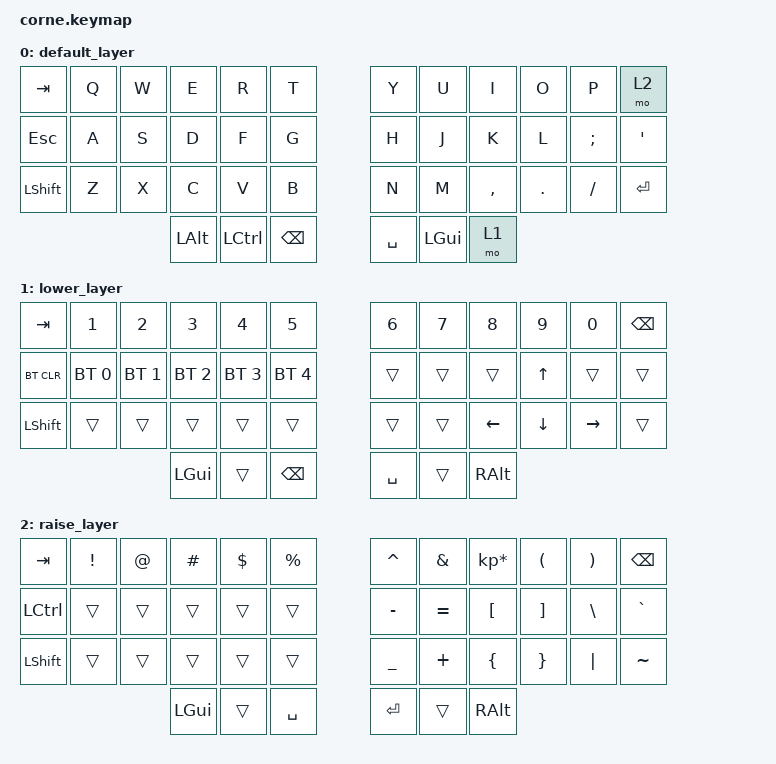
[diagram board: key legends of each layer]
/*
 * Copyright (c) 2020 The ZMK Contributors
 *
 * SPDX-License-Identifier: MIT
 */

#include <behaviors.dtsi>
#include <dt-bindings/zmk/bt.h>
#include <dt-bindings/zmk/keys.h>

/ {
    keymap {
        compatible = "zmk,keymap";

        default_layer {
            // -----------------------------------------------------------------------------------------
            // |  TAB |  Q  |  W  |  E  |  R  |  T  |   |  Y  |  U   |  I  |  O  |  P  | RSE  |
            // |  ESC |  A  |  S  |  D  |  F  |  G  |   |  H  |  J   |  K  |  L  |  ;  |  '   |
            // | SHFT |  Z  |  X  |  C  |  V  |  B  |   |  N  |  M   |  ,  |  .  |  /  | RET  |
            //                    | ALT | CRT |BKSP |   | SPC | LWR  | ALT |

            bindings = <
&kp TAB    &kp Q  &kp W  &kp E     &kp R      &kp T       &kp Y      &kp U     &kp I      &kp O    &kp P     &mo 2
&kp ESC    &kp A  &kp S  &kp D     &kp F      &kp G       &kp H      &kp J     &kp K      &kp L    &kp SEMI  &kp SQT
&kp LSHFT  &kp Z  &kp X  &kp C     &kp V      &kp B       &kp N      &kp M     &kp COMMA  &kp DOT  &kp FSLH  &kp RET
                         &kp LALT  &kp LCTRL  &kp BSPC    &kp SPACE  &kp LGUI  &mo 1
            >;
        };

        lower_layer {
            // -----------------------------------------------------------------------------------------
            // |  TAB |  1  |  2  |  3  |  4  |  5  |   |  6  |  7  |  8  |  9  |  0  | BKSP |
            // | BTCLR| BT1 | BT2 | BT3 | BT4 | BT5 |   |     |     |     |  UP |     |      |
            // | SHFT |     |     |     |     |     |   |     |     | LET | DWN | RGT |      |
            //                    | GUI |     | SPC |   | ENT |     | ALT |

            bindings = <
&kp TAB     &kp N1        &kp N2        &kp N3        &kp N4        &kp N5           &kp N6     &kp N7  &kp N8    &kp N9    &kp N0     &kp BSPC
&bt BT_CLR  &bt BT_SEL 0  &bt BT_SEL 1  &bt BT_SEL 2  &bt BT_SEL 3  &bt BT_SEL 4     &trans     &trans  &trans    &kp UP    &trans     &trans
&kp LSHFT   &trans        &trans        &trans        &trans        &trans           &trans     &trans  &kp LEFT  &kp DOWN  &kp RIGHT  &trans
                                        &kp LGUI      &trans        &kp BACKSPACE    &kp SPACE  &trans  &kp RALT
            >;
        };

        raise_layer {
            // -----------------------------------------------------------------------------------------
            // |  TAB |  !  |  @  |  #  |  $  |  %  |   |  ^  |  &  |  *  |  (  |  )  | BKSP |
            // | CTRL |     |     |     |     |     |   |  -  |  =  |  [  |  ]  |  \  |  `   |
            // | SHFT |     |     |     |     |     |   |  _  |  +  |  {  |  }  | "|" |  ~   |
            //                    | GUI |     | SPC |   | ENT |     | ALT |

            bindings = <
&kp TAB    &kp EXCL  &kp AT  &kp HASH  &kp DLLR  &kp PRCNT    &kp CARET  &kp AMPS   &kp KP_MULTIPLY  &kp LPAR  &kp RPAR  &kp BSPC
&kp LCTRL  &trans    &trans  &trans    &trans    &trans       &kp MINUS  &kp EQUAL  &kp LBKT         &kp RBKT  &kp BSLH  &kp GRAVE
&kp LSHFT  &trans    &trans  &trans    &trans    &trans       &kp UNDER  &kp PLUS   &kp LBRC         &kp RBRC  &kp PIPE  &kp TILDE
                             &kp LGUI  &trans    &kp SPACE    &kp RET    &trans     &kp RALT
            >;
        };
    };
};
